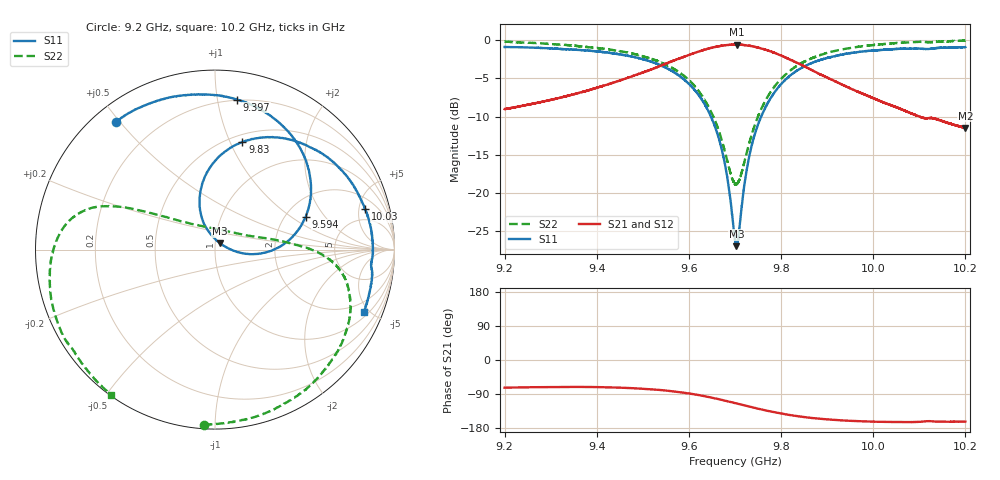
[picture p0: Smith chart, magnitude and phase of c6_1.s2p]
!Agilent Technologies,N5242A,MY51221714,A.09.90.19
!Agilent N5242A: A.09.90.19
!Date: Saturday, March 16, 2024 10:03:16
!Correction: S11(Full 2 Port(1,2))
!S21(Full 2 Port(1,2))
!S12(Full 2 Port(1,2))
!S22(Full 2 Port(1,2))
!S2P File: Measurements: S11, S21, S12, S22:
# Hz S  dB  R 50
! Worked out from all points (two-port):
!   16001 points, 9.2 GHz to 10.2 GHz, reference 50 ohm
!   highest |S21| = -0.59 dB at 9.705 GHz (marker M1); lowest = -11.5 dB at 10.2 GHz (marker M2)
!   |S21| within 3 dB of the highest: 9.529 GHz to 9.856 GHz (326.8 MHz wide, 3.37 % of centre); 9.855795 GHz to 9.855825 GHz (30.21 kHz wide, 0.000307 % of centre)
!   lowest |S11| = -26.9 dB at 9.703 GHz (marker M3), VSWR 1.09, Z = 52.7 + j3.76 ohm
!   |S11| at or under -10 dB: 9.648 GHz to 9.757 GHz (108.9 MHz wide, 1.12 % of centre)
!   |S22| runs from -18.9 to -0.1 dB; largest |S21 - S12| = 0.012
!   S11 on the Smith chart (normalised r, x): 9.2 GHz: 0.06, +0.49; 9.397 GHz: 0.20, +1.14; 9.594 GHz: 2.55, +1.32; 9.83 GHz: 0.57, +1.11; 10.03 GHz: 3.24, +5.81; 10.2 GHz: 1.29, -4.63
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9.2e9  -0.91 127.6  -9.03 -73.1  -9.02 -73.7  -0.20 -93.6
9.27775e9  -1.03 110.2  -8.12 -71.6  -8.10 -72.1  -0.43 -72.1
9.366688e9  -1.32 89.3  -6.83 -71.2  -6.80 -71.6  -0.83 -48.5
9.397e9  -1.47 81.5  -6.29 -71.4  -6.27 -72.0  -1.01 -40.7
9.46525e9  -2.03 63.0  -4.98 -73.6  -4.97 -74.2  -1.61 -24.9
9.533375e9  -3.18 41.9  -3.49 -78.7  -3.47 -79.2  -2.76 -11.1
9.59375e9  -5.39 20.0  -2.07 -87.2  -2.08 -87.7  -4.89 -1.2
9.661875e9  -12.25 -5.4  -0.84 -102.6  -0.84 -103.2  -11.35 14.2
9.681375e9  -17.29 -6.9  -0.66 -108.1  -0.65 -108.6  -15.34 30.0
9.7e9  -26.09 31.0  -0.60 -113.6  -0.57 -114.2  -18.83 71.5
9.703062e9  -26.93 52.2  -0.60 -114.6  -0.58 -115.2  -18.85 80.7
9.704875e9  -26.67 63.7  -0.59 -115.1  -0.58 -115.7  -18.76 86.4
9.726125e9  -16.70 112.6  -0.70 -121.6  -0.68 -122.2  -14.58 130.7
9.747625e9  -11.43 108.9  -0.96 -127.8  -0.93 -128.5  -10.32 145.0
9.783938e9  -6.99 94.5  -1.62 -137.5  -1.63 -138.1  -6.22 153.0
9.829875e9  -4.17 75.7  -2.83 -147.1  -2.84 -147.7  -3.54 158.7
9.866688e9  -3.00 62.1  -3.93 -153.0  -3.91 -153.5  -2.38 163.4
9.949188e9  -1.71 36.1  -6.28 -160.4  -6.28 -160.9  -1.05 177.2
1.002862e10  -1.25 15.1  -8.30 -163.3  -8.28 -163.9  -0.49 -166.3
1.003338e10  -1.23 13.8  -8.40 -163.5  -8.39 -163.9  -0.46 -165.2
1.010556e10  -1.14 -3.3  -10.12 -162.7  -10.11 -163.3  -0.23 -149.0
1.02e10  -0.93 -22.7  -11.50 -162.5  -11.48 -163.1  -0.05 -125.5
